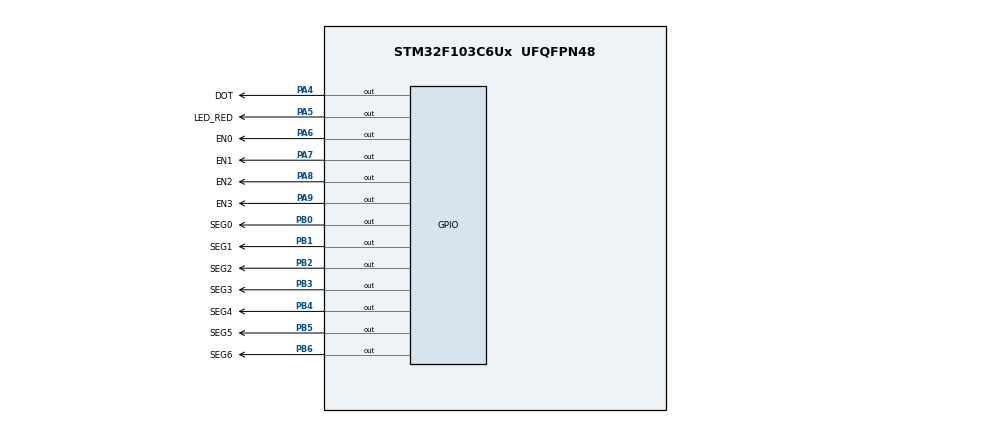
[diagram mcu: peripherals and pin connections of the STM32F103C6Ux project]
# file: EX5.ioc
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Mcu.Family=STM32F1
Mcu.Name=STM32F103C6Ux
Mcu.Package=UFQFPN48
NVIC.PriorityGroup=NVIC_PRIORITYGROUP_4
NVIC.TIM2_IRQn=true\:0\:0\:false\:false\:true\:true\:true
PA4.GPIO_Label=DOT
PA4.Signal=GPIO_Output
PA5.GPIO_Label=LED_RED
PA5.Signal=GPIO_Output
PA6.GPIO_Label=EN0
PA6.Signal=GPIO_Output
PA7.GPIO_Label=EN1
PA7.Signal=GPIO_Output
PA8.GPIO_Label=EN2
PA8.Signal=GPIO_Output
PA9.GPIO_Label=EN3
PA9.Signal=GPIO_Output
PB0.GPIO_Label=SEG0
PB0.Signal=GPIO_Output
PB1.GPIO_Label=SEG1
PB1.Signal=GPIO_Output
PB2.GPIO_Label=SEG2
PB2.Signal=GPIO_Output
PB3.GPIO_Label=SEG3
PB3.Signal=GPIO_Output
PB4.GPIO_Label=SEG4
PB4.Signal=GPIO_Output
PB5.GPIO_Label=SEG5
PB5.Signal=GPIO_Output
PB6.GPIO_Label=SEG6
PB6.Signal=GPIO_Output
ProjectManager.HeapSize=0x200
ProjectManager.StackSize=0x400
ProjectManager.TargetToolchain=STM32CubeIDE
RCC.APB1Freq_Value=8000000
RCC.APB2Freq_Value=8000000
TIM2.Period=9
TIM2.Prescaler=7999
VP_SYS_VS_ND.Mode=No_Debug
VP_TIM2_VS_ClockSourceINT.Mode=Internal
board=custom

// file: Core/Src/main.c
/* USER CODE BEGIN Header */
/**
  ******************************************************************************
  * @file           : main.c
  * @brief          : Main program body
  ******************************************************************************
  * @attention
  *
  * <h2><center>&copy; Copyright (c) 2026 STMicroelectronics.
  * All rights reserved.</center></h2>
  *
  * This software component is licensed by ST under BSD 3-Clause license,
  * the "License"; You may not use this file except in compliance with the
  * License. You may obtain a copy of the License at:
  *                        opensource.org/licenses/BSD-3-Clause
  *
  ******************************************************************************
  */
/* USER CODE END Header */
#include "main.h"

TIM_HandleTypeDef htim2;

void SystemClock_Config(void);
static void MX_TIM2_Init(void);
static void MX_GPIO_Init(void);
/* USER CODE BEGIN PFP */
void updateClockBuffer(void);
/* USER CODE END PFP */

/* USER CODE BEGIN 0 */
const int MAX_LED = 4;
int index_led = 0;
int led_buffer[4] = {1, 5, 0, 8};

int led_counter = 1;
int dot_counter = 1;
int dot_state = 0;

int hour = 15, minute = 8, second = 50;
/* USER CODE END 0 */

int main(void)
{

  /* MCU Configuration--------------------------------------------------------*/

  /* Reset of all peripherals, Initializes the Flash interface and the Systick. */
  HAL_Init();

  /* Configure the system clock */
  SystemClock_Config();

  /* Initialize all configured peripherals */
  MX_TIM2_Init();
  MX_GPIO_Init();
  /* USER CODE BEGIN 2 */
  HAL_TIM_Base_Start_IT(&htim2);
  /* USER CODE END 2 */

  /* Infinite loop */
  /* USER CODE BEGIN WHILE */
  /* Infinite loop */
    /* USER CODE BEGIN WHILE */
    while (1)
    {
      /* USER CODE END WHILE */
          second++;
          if (second >= 60){
              second = 0;
              minute++;
              if (minute >= 60) {
                  minute = 0;
                  hour++;
              }
          }
          if (hour >= 24) {
              hour = 0;
          }
          updateClockBuffer();
          HAL_Delay(1000);

    }
}
void SystemClock_Config(void)
{
  RCC_OscInitTypeDef RCC_OscInitStruct = {0};
  RCC_ClkInitTypeDef RCC_ClkInitStruct = {0};

  /** Initializes the RCC Oscillators according to the specified parameters
  * in the RCC_OscInitTypeDef structure.
  */
  RCC_OscInitStruct.OscillatorType = RCC_OSCILLATORTYPE_HSI;
  RCC_OscInitStruct.HSIState = RCC_HSI_ON;
  RCC_OscInitStruct.HSICalibrationValue = RCC_HSICALIBRATION_DEFAULT;
  RCC_OscInitStruct.PLL.PLLState = RCC_PLL_NONE;
  if (HAL_RCC_OscConfig(&RCC_OscInitStruct) != HAL_OK)
  {
    Error_Handler();
  }
  /** Initializes the CPU, AHB and APB buses clocks
  */
  RCC_ClkInitStruct.ClockType = RCC_CLOCKTYPE_HCLK|RCC_CLOCKTYPE_SYSCLK
                              |RCC_CLOCKTYPE_PCLK1|RCC_CLOCKTYPE_PCLK2;
  RCC_ClkInitStruct.SYSCLKSource = RCC_SYSCLKSOURCE_HSI;
  RCC_ClkInitStruct.AHBCLKDivider = RCC_SYSCLK_DIV1;
  RCC_ClkInitStruct.APB1CLKDivider = RCC_HCLK_DIV1;
  RCC_ClkInitStruct.APB2CLKDivider = RCC_HCLK_DIV1;

  if (HAL_RCC_ClockConfig(&RCC_ClkInitStruct, FLASH_LATENCY_0) != HAL_OK)
  {
    Error_Handler();
  }
}

static void MX_TIM2_Init(void)
{

  TIM_ClockConfigTypeDef sClockSourceConfig = {0};
  TIM_MasterConfigTypeDef sMasterConfig = {0};

  htim2.Instance = TIM2;
  htim2.Init.Prescaler = 7999;
  htim2.Init.CounterMode = TIM_COUNTERMODE_UP;
  htim2.Init.Period = 9;
  htim2.Init.ClockDivision = TIM_CLOCKDIVISION_DIV1;
  htim2.Init.AutoReloadPreload = TIM_AUTORELOAD_PRELOAD_DISABLE;
  if (HAL_TIM_Base_Init(&htim2) != HAL_OK)
  {
    Error_Handler();
  }
  sClockSourceConfig.ClockSource = TIM_CLOCKSOURCE_INTERNAL;
  if (HAL_TIM_ConfigClockSource(&htim2, &sClockSourceConfig) != HAL_OK)
  {
    Error_Handler();
  }
  sMasterConfig.MasterOutputTrigger = TIM_TRGO_RESET;
  sMasterConfig.MasterSlaveMode = TIM_MASTERSLAVEMODE_DISABLE;
  if (HAL_TIMEx_MasterConfigSynchronization(&htim2, &sMasterConfig) != HAL_OK)
  {
    Error_Handler();
  }

}

static void MX_GPIO_Init(void)
{
  GPIO_InitTypeDef GPIO_InitStruct = {0};

  /* GPIO Ports Clock Enable */
  __HAL_RCC_GPIOA_CLK_ENABLE();
  __HAL_RCC_GPIOB_CLK_ENABLE();

  /*Configure GPIO pin Output Level */
  HAL_GPIO_WritePin(GPIOA, DOT_Pin|LED_RED_Pin|EN0_Pin|EN1_Pin
                          |EN2_Pin|EN3_Pin, GPIO_PIN_RESET);

  /*Configure GPIO pin Output Level */
  HAL_GPIO_WritePin(GPIOB, SEG0_Pin|SEG1_Pin|SEG2_Pin|SEG3_Pin
                          |SEG4_Pin|SEG5_Pin|SEG6_Pin, GPIO_PIN_RESET);

  /*Configure GPIO pins : DOT_Pin LED_RED_Pin EN0_Pin EN1_Pin
                           EN2_Pin EN3_Pin */
  GPIO_InitStruct.Pin = DOT_Pin|LED_RED_Pin|EN0_Pin|EN1_Pin
                          |EN2_Pin|EN3_Pin;
  GPIO_InitStruct.Mode = GPIO_MODE_OUTPUT_PP;
  GPIO_InitStruct.Pull = GPIO_NOPULL;
  GPIO_InitStruct.Speed = GPIO_SPEED_FREQ_LOW;
  HAL_GPIO_Init(GPIOA, &GPIO_InitStruct);

  /*Configure GPIO pins : SEG0_Pin SEG1_Pin SEG2_Pin SEG3_Pin
                           SEG4_Pin SEG5_Pin SEG6_Pin */
  GPIO_InitStruct.Pin = SEG0_Pin|SEG1_Pin|SEG2_Pin|SEG3_Pin
                          |SEG4_Pin|SEG5_Pin|SEG6_Pin;
  GPIO_InitStruct.Mode = GPIO_MODE_OUTPUT_PP;
  GPIO_InitStruct.Pull = GPIO_NOPULL;
  GPIO_InitStruct.Speed = GPIO_SPEED_FREQ_LOW;
  HAL_GPIO_Init(GPIOB, &GPIO_InitStruct);

}
/* USER CODE BEGIN 4 */
void display7SEG(int num){
	uint8_t seg7[10]={0xC0,0xF9,0xA4,0xB0,0x99,0x92,0x82,0xF8,0x80,0x90};
	if(num<0||num>9) return;
	uint8_t temp = seg7[num];
	HAL_GPIO_WritePin(GPIOB, SEG0_Pin, (temp >> 0) & 1);
	HAL_GPIO_WritePin(GPIOB, SEG1_Pin, (temp >> 1) & 1);
	HAL_GPIO_WritePin(GPIOB, SEG2_Pin, (temp >> 2) & 1);
	HAL_GPIO_WritePin(GPIOB, SEG3_Pin, (temp >> 3) & 1);
	HAL_GPIO_WritePin(GPIOB, SEG4_Pin, (temp >> 4) & 1);
	HAL_GPIO_WritePin(GPIOB, SEG5_Pin, (temp >> 5) & 1);
	HAL_GPIO_WritePin(GPIOB, SEG6_Pin, (temp >> 6) & 1);
}
void updateClockBuffer() {
    led_buffer[0] = hour / 10;
    led_buffer[1] = hour % 10;
    led_buffer[2] = minute / 10;
    led_buffer[3] = minute % 10;
}
void update7SEG (int index) {

    HAL_GPIO_WritePin(GPIOA, EN0_Pin | EN1_Pin | EN2_Pin | EN3_Pin, GPIO_PIN_SET);

    switch (index) {
        case 0:
            display7SEG(led_buffer[0]);
            HAL_GPIO_WritePin(GPIOA, EN0_Pin, GPIO_PIN_RESET);
            break;
        case 1:
            display7SEG(led_buffer[1]);
            HAL_GPIO_WritePin(GPIOA, EN1_Pin, GPIO_PIN_RESET);
            break;
        case 2:
            display7SEG(led_buffer[2]);
            HAL_GPIO_WritePin(GPIOA, EN2_Pin, GPIO_PIN_RESET);
            break;
        case 3:
            display7SEG(led_buffer[3]);
            HAL_GPIO_WritePin(GPIOA, EN3_Pin, GPIO_PIN_RESET);
            break;
        default:
            break;
    }
}

void HAL_TIM_PeriodElapsedCallback(TIM_HandleTypeDef *htim)
{
	if (htim->Instance == TIM2) {
        led_counter--;
        if (led_counter <= 0) {
            led_counter = 25;

            update7SEG(index_led++);
            if (index_led >= MAX_LED) {
                index_led = 0;
            }
        }

        dot_counter--;
        if (dot_counter <= 0) {
            dot_counter = 100;
            if (dot_state == 0) {
                dot_state = 1;
                HAL_GPIO_WritePin(GPIOA, DOT_Pin, GPIO_PIN_SET);
            } else {
                dot_state = 0;
                HAL_GPIO_WritePin(GPIOA, DOT_Pin, GPIO_PIN_RESET);
            }
        }
    }
}
/* USER CODE END 4 */

void Error_Handler(void)
{
  __disable_irq();
  while (1)
  {
  }
}

/************************ (C) COPYRIGHT STMicroelectronics *****END OF FILE****/
